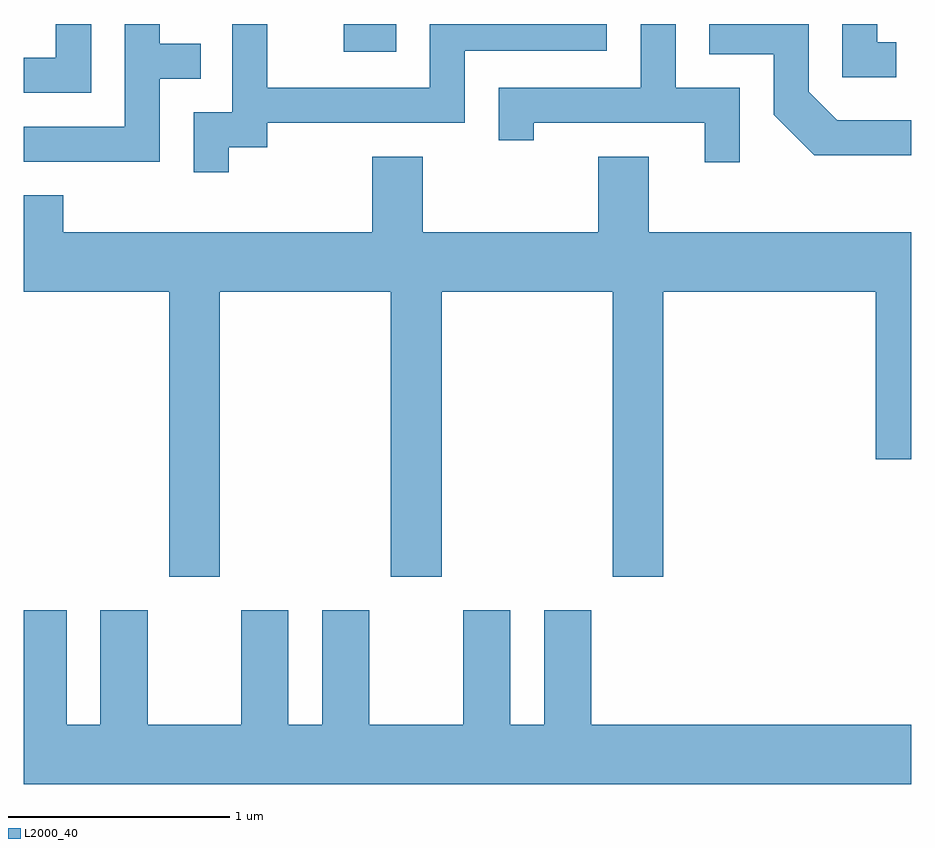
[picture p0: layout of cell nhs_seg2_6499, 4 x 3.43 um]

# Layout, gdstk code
import gdstk
lib = gdstk.Library(unit=1e-6, precision=1e-09)
def R(c, l, rs):  # rectangles x0, y0, x1, y1
    for r in rs: c.add(gdstk.rectangle(r[:2], r[2:], *l))
def P(c, l, *ps):  # polygons
    for p in ps: c.add(gdstk.Polygon(p, *l))
L2000_40 = (2000, 40)

nhs_seg2_6499 = lib.new_cell('nhs_seg2_6499')
R(nhs_seg2_6499, L2000_40, [(379.053,991.676,379.289,991.802)])
P(nhs_seg2_6499, L2000_40, [(381.543,991.719),(381.459,991.719),(381.459,991.802),(381.301,991.802),(381.301,991.561),(381.543,991.561)],
  [(378.224,991.556),(378.408,991.556),(378.408,991.714),(378.224,991.714),(378.224,991.802),(378.066,991.802),(378.066,991.339),(377.611,991.339),(377.611,991.181),(378.224,991.181)],
  [(377.914,991.802),(377.756,991.802),(377.756,991.649),(377.611,991.649),(377.611,991.491),(377.914,991.491)],
  [(380.839,991.514),(380.549,991.514),(380.549,991.802),(380.391,991.802),(380.391,991.514),(379.751,991.514),(379.751,991.278),(379.909,991.278),(379.909,991.356),(380.681,991.356),(380.681,991.178),(380.839,991.178)],
  [(378.534,991.246),(378.709,991.246),(378.709,991.356),(379.599,991.356),(379.599,991.681),(380.239,991.681),(380.239,991.802),(379.441,991.802),(379.441,991.514),(378.709,991.514),(378.709,991.802),(378.551,991.802),(378.551,991.404),(378.376,991.404),(378.376,991.133),(378.534,991.133)],
  [(381.611,991.369),(381.277,991.369),(381.149,991.497),(381.149,991.802),(380.701,991.802),(380.701,991.666),(380.991,991.666),(380.991,991.394),(381.174,991.211),(381.611,991.211)],
  [(378.494,990.596),(379.266,990.596),(379.266,989.311),(379.494,989.311),(379.494,990.596),(380.266,990.596),(380.266,989.311),(380.494,989.311),(380.494,990.596),(381.451,990.596),(381.451,989.841),(381.611,989.841),(381.611,990.864),(380.429,990.864),(380.429,991.204),(380.201,991.204),(380.201,990.864),(379.409,990.864),(379.409,991.204),(379.181,991.204),(379.181,990.864),(377.789,990.864),(377.789,991.029),(377.611,991.029),(377.611,990.596),(378.266,990.596),(378.266,989.311),(378.494,989.311)],
  [(381.611,988.644),(380.169,988.644),(380.169,989.159),(379.956,989.159),(379.956,988.644),(379.804,988.644),(379.804,989.159),(379.591,989.159),(379.591,988.644),(379.169,988.644),(379.169,989.159),(378.956,989.159),(378.956,988.644),(378.804,988.644),(378.804,989.159),(378.591,989.159),(378.591,988.644),(378.169,988.644),(378.169,989.159),(377.956,989.159),(377.956,988.644),(377.804,988.644),(377.804,989.159),(377.611,989.159),(377.611,988.376),(381.611,988.376)])

lib.write_gds('nhs_seg2_6499.gds')
